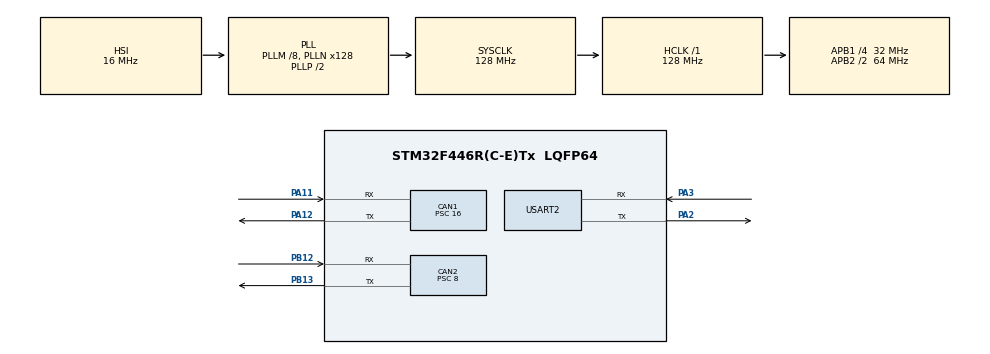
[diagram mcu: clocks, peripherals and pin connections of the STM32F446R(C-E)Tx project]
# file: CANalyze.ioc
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CAN1.BS1=CAN_BS1_2TQ
CAN1.CalculateBaudRate=500000
CAN1.CalculateTimeBit=2000
CAN1.CalculateTimeQuantum=500.0
CAN1.Prescaler=16
CAN2.BS1=CAN_BS1_2TQ
CAN2.CalculateBaudRate=1000000
CAN2.CalculateTimeBit=1000
CAN2.CalculateTimeQuantum=250.0
CAN2.Prescaler=8
Mcu.Family=STM32F4
Mcu.Name=STM32F446R(C-E)Tx
Mcu.Package=LQFP64
NVIC.PriorityGroup=NVIC_PRIORITYGROUP_4
PA11.Mode=CAN_Activate
PA11.Signal=CAN1_RX
PA12.Mode=CAN_Activate
PA12.Signal=CAN1_TX
PA13.Mode=Serial_Wire
PA13.Signal=SYS_JTMS-SWDIO
PA14.Mode=Serial_Wire
PA14.Signal=SYS_JTCK-SWCLK
PA2.Mode=Asynchronous
PA2.Signal=USART2_TX
PA3.Mode=Asynchronous
PA3.Signal=USART2_RX
PB12.Mode=CAN_Activate
PB12.Signal=CAN2_RX
PB13.Mode=CAN_Activate
PB13.Signal=CAN2_TX
ProjectManager.HeapSize=0x200
ProjectManager.StackSize=0x400
ProjectManager.TargetToolchain=STM32CubeIDE
RCC.AHBFreq_Value=128000000
RCC.APB1CLKDivider=RCC_HCLK_DIV4
RCC.APB1Freq_Value=32000000
RCC.APB1TimFreq_Value=64000000
RCC.APB2CLKDivider=RCC_HCLK_DIV2
RCC.APB2Freq_Value=64000000
RCC.APB2TimFreq_Value=128000000
RCC.CortexFreq_Value=128000000
RCC.HCLKFreq_Value=128000000
RCC.PLLM=8
RCC.PLLN=128
RCC.SYSCLKFreq_VALUE=128000000
RCC.SYSCLKSource=RCC_SYSCLKSOURCE_PLLCLK
RCC.USBFreq_Value=128000000
RCC.VCOOutputFreq_Value=256000000
USART2.VirtualMode=VM_ASYNC
board=custom

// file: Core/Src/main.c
/* USER CODE BEGIN Header */
/**
  ******************************************************************************
  * @file           : main.c
  * @brief          : Main program body
  ******************************************************************************
  * @attention
  *
  * Copyright (c) 2022 STMicroelectronics.
  * All rights reserved.
  *
  * This software is licensed under terms that can be found in the LICENSE file
  * in the root directory of this software component.
  * If no LICENSE file comes with this software, it is provided AS-IS.
  *
  ******************************************************************************
  */
/* USER CODE END Header */
#include "main.h"

/* USER CODE BEGIN Includes */
#include <stdio.h>
#include <string.h>
#include "FEB_CAN.h"
/* USER CODE END Includes */

CAN_HandleTypeDef hcan1;
CAN_HandleTypeDef hcan2;

UART_HandleTypeDef huart2;

void SystemClock_Config(void);
static void MX_GPIO_Init(void);
static void MX_CAN1_Init(void);
static void MX_USART2_UART_Init(void);
static void MX_CAN2_Init(void);

int main(void)
{

  /* MCU Configuration--------------------------------------------------------*/

  /* Reset of all peripherals, Initializes the Flash interface and the Systick. */
  HAL_Init();

  /* Configure the system clock */
  SystemClock_Config();

  /* Initialize all configured peripherals */
  MX_GPIO_Init();
  MX_CAN1_Init();
  MX_USART2_UART_Init();
  MX_CAN2_Init();
  /* USER CODE BEGIN 2 */
  uint32_t filter_id = 0;
  uint32_t filter_mask = 0x0;

  CAN_FilterTypeDef filter_config;
  filter_config.FilterBank = 0;
  filter_config.FilterMode = CAN_FILTERMODE_IDMASK;
  filter_config.FilterFIFOAssignment = CAN_FILTER_FIFO0;
  filter_config.FilterIdHigh = filter_id << 5;
  filter_config.FilterIdLow = 0;
  filter_config.FilterMaskIdHigh = filter_mask << 5;
  filter_config.FilterMaskIdLow = 0;
  filter_config.FilterScale = CAN_FILTERSCALE_32BIT;
  filter_config.FilterActivation = ENABLE;
  filter_config.SlaveStartFilterBank = 14;
  HAL_CAN_ConfigFilter(&hcan1, &filter_config);

  filter_config.FilterBank = 14;
  filter_config.FilterMode = CAN_FILTERMODE_IDMASK;
  filter_config.FilterFIFOAssignment = CAN_FILTER_FIFO0;
  filter_config.FilterIdHigh = filter_id << 5;
  filter_config.FilterIdLow = 0;
  filter_config.FilterMaskIdHigh = filter_mask << 5;
  filter_config.FilterMaskIdLow = 0;
  filter_config.FilterScale = CAN_FILTERSCALE_32BIT;
  filter_config.FilterActivation = ENABLE;
  filter_config.SlaveStartFilterBank = 14;
  HAL_CAN_ConfigFilter(&hcan2, &filter_config);

  if (HAL_CAN_Start(&hcan1) != HAL_OK) {
    while (1)
    HAL_UART_Transmit(&huart2, (uint8_t *) "CAN init Error\r\n", strlen("CAN init Error\r\n"), 100);
  }
  if (HAL_CAN_Start(&hcan2) != HAL_OK) {
    while (1)
    HAL_UART_Transmit(&huart2, (uint8_t *) "CAN init Error\r\n", strlen("CAN init Error\r\n"), 100);
  }

  HAL_Delay(2000);
  /* USER CODE END 2 */

  /* Infinite loop */
  while (1)
  {

    /* USER CODE BEGIN 3 */
    uint32_t can1_fifolevel = HAL_CAN_GetRxFifoFillLevel(&hcan1, CAN_RX_FIFO0) || HAL_CAN_GetRxFifoFillLevel(&hcan1, CAN_RX_FIFO1);

    if (can1_fifolevel > 0) {
      CAN_RxHeaderTypeDef header;
      uint8_t data[8];

      HAL_CAN_GetRxMessage(&hcan1, CAN_RX_FIFO0, &header, data);

      char str[64];

      sprintf(str, "CAN1 %d %d", header.StdId, header.DLC);
      HAL_UART_Transmit(&huart2, (uint8_t *)str, strlen(str), 100);

      for (uint16_t i=0; i<header.DLC; i+=1) {
        sprintf(str, " %d", data[i]);
        HAL_UART_Transmit(&huart2, (uint8_t *)str, strlen(str), 100);
      }

      sprintf(str, "\n");
      HAL_UART_Transmit(&huart2, (uint8_t *)str, strlen(str), 100);

    }

    uint32_t can2_fifolevel = HAL_CAN_GetRxFifoFillLevel(&hcan2, CAN_RX_FIFO0) || HAL_CAN_GetRxFifoFillLevel(&hcan2, CAN_RX_FIFO1);

    if (can2_fifolevel > 0) {
      CAN_RxHeaderTypeDef header;
      uint8_t data[8];

      HAL_CAN_GetRxMessage(&hcan2, CAN_RX_FIFO0, &header, data);

      char str[64];

      sprintf(str, "CAN2 %d %d", header.StdId, header.DLC);
      HAL_UART_Transmit(&huart2, (uint8_t *)str, strlen(str), 100);

      for (uint16_t i=0; i<header.DLC; i+=1) {
        sprintf(str, " %d", data[i]);
        HAL_UART_Transmit(&huart2, (uint8_t *)str, strlen(str), 100);
      }

      sprintf(str, "\n");
      HAL_UART_Transmit(&huart2, (uint8_t *)str, strlen(str), 100);

    }

    HAL_Delay(100);
  }
  /* USER CODE END 3 */
}

void SystemClock_Config(void)
{
  RCC_OscInitTypeDef RCC_OscInitStruct = {0};
  RCC_ClkInitTypeDef RCC_ClkInitStruct = {0};

  /** Configure the main internal regulator output voltage
  */
  __HAL_RCC_PWR_CLK_ENABLE();
  __HAL_PWR_VOLTAGESCALING_CONFIG(PWR_REGULATOR_VOLTAGE_SCALE2);

  /** Initializes the RCC Oscillators according to the specified parameters
  * in the RCC_OscInitTypeDef structure.
  */
  RCC_OscInitStruct.OscillatorType = RCC_OSCILLATORTYPE_HSI;
  RCC_OscInitStruct.HSIState = RCC_HSI_ON;
  RCC_OscInitStruct.HSICalibrationValue = RCC_HSICALIBRATION_DEFAULT;
  RCC_OscInitStruct.PLL.PLLState = RCC_PLL_ON;
  RCC_OscInitStruct.PLL.PLLSource = RCC_PLLSOURCE_HSI;
  RCC_OscInitStruct.PLL.PLLM = 8;
  RCC_OscInitStruct.PLL.PLLN = 128;
  RCC_OscInitStruct.PLL.PLLP = RCC_PLLP_DIV2;
  RCC_OscInitStruct.PLL.PLLQ = 2;
  RCC_OscInitStruct.PLL.PLLR = 2;
  if (HAL_RCC_OscConfig(&RCC_OscInitStruct) != HAL_OK)
  {
    Error_Handler();
  }

  /** Initializes the CPU, AHB and APB buses clocks
  */
  RCC_ClkInitStruct.ClockType = RCC_CLOCKTYPE_HCLK|RCC_CLOCKTYPE_SYSCLK
                              |RCC_CLOCKTYPE_PCLK1|RCC_CLOCKTYPE_PCLK2;
  RCC_ClkInitStruct.SYSCLKSource = RCC_SYSCLKSOURCE_PLLCLK;
  RCC_ClkInitStruct.AHBCLKDivider = RCC_SYSCLK_DIV1;
  RCC_ClkInitStruct.APB1CLKDivider = RCC_HCLK_DIV4;
  RCC_ClkInitStruct.APB2CLKDivider = RCC_HCLK_DIV2;

  if (HAL_RCC_ClockConfig(&RCC_ClkInitStruct, FLASH_LATENCY_4) != HAL_OK)
  {
    Error_Handler();
  }
}

static void MX_CAN1_Init(void)
{

  hcan1.Instance = CAN1;
  hcan1.Init.Prescaler = 16;
  hcan1.Init.Mode = CAN_MODE_NORMAL;
  hcan1.Init.SyncJumpWidth = CAN_SJW_1TQ;
  hcan1.Init.TimeSeg1 = CAN_BS1_2TQ;
  hcan1.Init.TimeSeg2 = CAN_BS2_1TQ;
  hcan1.Init.TimeTriggeredMode = DISABLE;
  hcan1.Init.AutoBusOff = DISABLE;
  hcan1.Init.AutoWakeUp = DISABLE;
  hcan1.Init.AutoRetransmission = DISABLE;
  hcan1.Init.ReceiveFifoLocked = DISABLE;
  hcan1.Init.TransmitFifoPriority = DISABLE;
  if (HAL_CAN_Init(&hcan1) != HAL_OK)
  {
    Error_Handler();
  }

}

static void MX_CAN2_Init(void)
{

  hcan2.Instance = CAN2;
  hcan2.Init.Prescaler = 8;
  hcan2.Init.Mode = CAN_MODE_NORMAL;
  hcan2.Init.SyncJumpWidth = CAN_SJW_1TQ;
  hcan2.Init.TimeSeg1 = CAN_BS1_2TQ;
  hcan2.Init.TimeSeg2 = CAN_BS2_1TQ;
  hcan2.Init.TimeTriggeredMode = DISABLE;
  hcan2.Init.AutoBusOff = DISABLE;
  hcan2.Init.AutoWakeUp = DISABLE;
  hcan2.Init.AutoRetransmission = DISABLE;
  hcan2.Init.ReceiveFifoLocked = DISABLE;
  hcan2.Init.TransmitFifoPriority = DISABLE;
  if (HAL_CAN_Init(&hcan2) != HAL_OK)
  {
    Error_Handler();
  }

}

static void MX_USART2_UART_Init(void)
{

  huart2.Instance = USART2;
  huart2.Init.BaudRate = 115200;
  huart2.Init.WordLength = UART_WORDLENGTH_8B;
  huart2.Init.StopBits = UART_STOPBITS_1;
  huart2.Init.Parity = UART_PARITY_NONE;
  huart2.Init.Mode = UART_MODE_TX_RX;
  huart2.Init.HwFlowCtl = UART_HWCONTROL_NONE;
  huart2.Init.OverSampling = UART_OVERSAMPLING_16;
  if (HAL_UART_Init(&huart2) != HAL_OK)
  {
    Error_Handler();
  }

}

static void MX_GPIO_Init(void)
{

  /* GPIO Ports Clock Enable */
  __HAL_RCC_GPIOA_CLK_ENABLE();
  __HAL_RCC_GPIOB_CLK_ENABLE();

}

void Error_Handler(void)
{
  __disable_irq();
  while (1)
  {
  }
}
